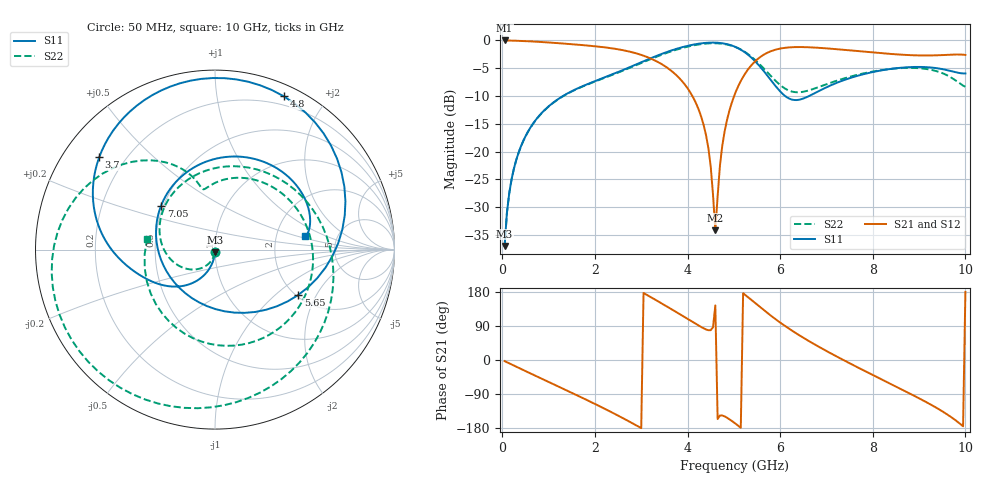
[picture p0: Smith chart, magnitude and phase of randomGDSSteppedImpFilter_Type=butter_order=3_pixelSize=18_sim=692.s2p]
! freq	dB(S11)	phase(S11)	dB(S12)	phase(S12)
!  dB(S21)	phase(S21)	dB(S22)	phase(S22)
!S-par simulation data
#  GHz  S  DB  R 50
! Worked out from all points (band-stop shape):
!   200 points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, 50 MHz to 10 GHz, reference 50 ohm
!   highest |S21| = 0.00 dB at 50 MHz (marker M1); lowest = -34.2 dB at 4.6 GHz (marker M2)
!   |S21| within 3 dB of the highest: start of sweep to 3.133 GHz; 5.568 GHz to end of sweep
!   lowest |S11| = -37.0 dB at 50 MHz (marker M3), VSWR 1.03, Z = 49.9 - j1.41 ohm
!   |S11| at or under -10 dB: start of sweep to 1.31 GHz; 6.108 GHz to 6.624 GHz (516.1 MHz wide, 8.11 % of centre)
!   |S22| runs from -37.0 to -0.5 dB; largest |S21 - S12| = 0
!   S11 on the Smith chart (normalised r, x): 50 MHz: 1.00, -0.03; 3.7 GHz: 0.11, +0.35; 4.8 GHz: 0.11, +1.54; 5.65 GHz: 2.05, -1.44; 7.05 GHz: 0.49, +0.28; 10 GHz: 2.92, +0.57
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0.05  -36.99 -91.8  -0.00 -3.0  -0.00 -3.0  -37.00 -93.7
0.2  -24.99 -98.3  -0.03 -11.8  -0.03 -11.8  -25.01 -105.6
0.5  -17.25 -110.4  -0.12 -29.2  -0.12 -29.2  -17.28 -129.0
1.15  -10.87 -134.2  -0.45 -66.5  -0.45 -66.5  -10.91 179.8
1.75  -8.17 -152.6  -0.85 -101.1  -0.85 -101.1  -8.23 129.0
2.55  -5.52 -173.9  -1.67 -149.9  -1.67 -149.9  -5.63 52.5
3.4  -2.56 156.0  -4.06 152.3  -4.06 152.3  -2.70 -33.5
3.7  -1.67 141.4  -5.81 130.6  -5.81 130.6  -1.82 -62.9
4.35  -0.47 101.8  -15.29 83.5  -15.29 83.5  -0.60 -124.3
4.5  -0.39 90.8  -22.60 78.6  -22.60 78.6  -0.51 -138.4
4.6  -0.39 82.9  -34.17 143.9  -34.17 143.9  -0.50 -147.9
4.8  -0.57 65.9  -16.40 -148.7  -16.40 -148.7  -0.65 -167.0
5.05  -1.23 41.9  -9.07 -169.3  -9.07 -169.3  -1.24 169.1
5.35  -2.88 8.9  -4.75 161.2  -4.75 161.2  -2.73 141.7
5.65  -5.55 -28.6  -2.54 131.3  -2.54 131.3  -5.08 119.4
6.15  -10.25 -106.7  -1.28 86.1  -1.28 86.1  -8.86 103.0
6.7  -9.69 172.8  -1.26 44.3  -1.26 44.3  -8.77 92.3
7.05  -8.23 140.8  -1.46 20.4  -1.46 20.4  -7.73 76.1
7.65  -6.41 102.0  -1.89 -18.0  -1.89 -18.0  -6.22 39.0
8.35  -5.16 66.0  -2.40 -60.9  -2.40 -60.9  -5.16 -9.2
9.35  -4.95 21.7  -2.68 -124.4  -2.68 -124.4  -5.46 -88.2
10  -5.93 8.3  -2.61 179.7  -2.61 179.7  -8.34 171.2
